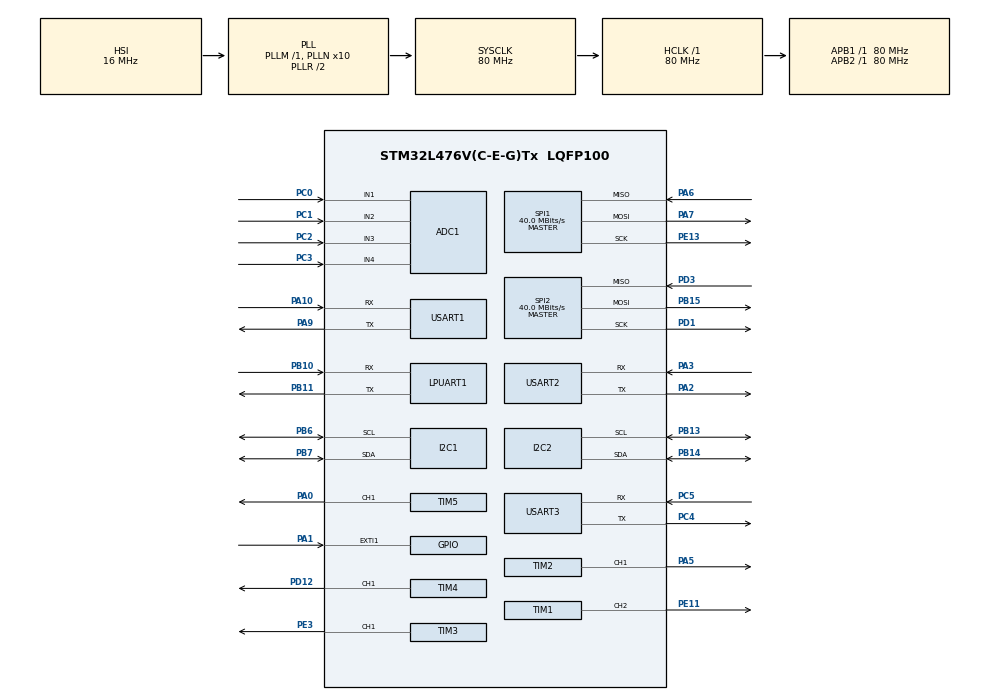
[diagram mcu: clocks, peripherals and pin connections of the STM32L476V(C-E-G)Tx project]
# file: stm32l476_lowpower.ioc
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ADC1.Channel-0\#ChannelRegularConversion=ADC_CHANNEL_1
ADC1.Channel-1\#ChannelRegularConversion=ADC_CHANNEL_2
ADC1.Channel-2\#ChannelRegularConversion=ADC_CHANNEL_3
ADC1.Channel-3\#ChannelRegularConversion=ADC_CHANNEL_4
ADC1.ContinuousConvMode=ENABLE
ADC1.DMAContinuousRequests=ENABLE
ADC1.NbrOfConversion=4
ADC1.NbrOfConversionFlag=1
ADC1.OffsetNumber-0\#ChannelRegularConversion=ADC_OFFSET_NONE
ADC1.OffsetNumber-1\#ChannelRegularConversion=ADC_OFFSET_NONE
ADC1.OffsetNumber-2\#ChannelRegularConversion=ADC_OFFSET_NONE
ADC1.OffsetNumber-3\#ChannelRegularConversion=ADC_OFFSET_NONE
ADC1.Rank-0\#ChannelRegularConversion=1
ADC1.Rank-1\#ChannelRegularConversion=2
ADC1.Rank-2\#ChannelRegularConversion=3
ADC1.Rank-3\#ChannelRegularConversion=4
ADC1.SamplingTime-0\#ChannelRegularConversion=ADC_SAMPLETIME_2CYCLES_5
ADC1.SamplingTime-1\#ChannelRegularConversion=ADC_SAMPLETIME_2CYCLES_5
ADC1.SamplingTime-2\#ChannelRegularConversion=ADC_SAMPLETIME_2CYCLES_5
ADC1.SamplingTime-3\#ChannelRegularConversion=ADC_SAMPLETIME_2CYCLES_5
ADC1.master=1
Dma.ADC1.0.Direction=DMA_PERIPH_TO_MEMORY
Dma.ADC1.0.Instance=DMA1_Channel1
Dma.ADC1.0.MemDataAlignment=DMA_MDATAALIGN_HALFWORD
Dma.ADC1.0.MemInc=DMA_MINC_ENABLE
Dma.ADC1.0.Mode=DMA_CIRCULAR
Dma.ADC1.0.PeriphDataAlignment=DMA_PDATAALIGN_HALFWORD
Dma.ADC1.0.PeriphInc=DMA_PINC_DISABLE
Dma.ADC1.0.Priority=DMA_PRIORITY_LOW
Dma.Request0=ADC1
I2C1.Timing=0x10D19CE4
I2C2.Timing=0x10D19CE4
Mcu.Family=STM32L4
Mcu.Name=STM32L476V(C-E-G)Tx
Mcu.Package=LQFP100
NVIC.DMA1_Channel1_IRQn=true\:0\:0\:false\:false\:true\:false\:true\:true
NVIC.EXTI1_IRQn=true\:0\:0\:false\:false\:true\:true\:true\:true
NVIC.PriorityGroup=NVIC_PRIORITYGROUP_4
PA0.Signal=S_TIM5_CH1
PA1.GPIO_ModeDefaultEXTI=GPIO_MODE_IT_FALLING
PA1.GPIO_PuPd=GPIO_PULLDOWN
PA1.Signal=GPXTI1
PA10.Mode=Asynchronous
PA10.Signal=USART1_RX
PA13\ (JTMS-SWDIO).Mode=Serial_Wire
PA13\ (JTMS-SWDIO).Signal=SYS_JTMS-SWDIO
PA14\ (JTCK-SWCLK).Mode=Serial_Wire
PA14\ (JTCK-SWCLK).Signal=SYS_JTCK-SWCLK
PA2.Mode=Asynchronous
PA2.Signal=USART2_TX
PA3.Mode=Asynchronous
PA3.Signal=USART2_RX
PA5.Signal=S_TIM2_CH1
PA6.Mode=Full_Duplex_Master
PA6.Signal=SPI1_MISO
PA7.Mode=Full_Duplex_Master
PA7.Signal=SPI1_MOSI
PA9.Mode=Asynchronous
PA9.Signal=USART1_TX
PB10.Mode=Asynchronous
PB10.Signal=LPUART1_RX
PB11.Mode=Asynchronous
PB11.Signal=LPUART1_TX
PB13.Mode=I2C
PB13.Signal=I2C2_SCL
PB14.Mode=I2C
PB14.Signal=I2C2_SDA
PB15.Mode=Full_Duplex_Master
PB15.Signal=SPI2_MOSI
PB6.Mode=I2C
PB6.Signal=I2C1_SCL
PB7.Mode=I2C
PB7.Signal=I2C1_SDA
PC0.Signal=ADCx_IN1
PC1.Signal=ADCx_IN2
PC14-OSC32_IN\ (PC14).Mode=LSE-External-Oscillator
PC14-OSC32_IN\ (PC14).Signal=RCC_OSC32_IN
PC15-OSC32_OUT\ (PC15).Mode=LSE-External-Oscillator
PC15-OSC32_OUT\ (PC15).Signal=RCC_OSC32_OUT
PC2.Signal=ADCx_IN3
PC3.Signal=ADCx_IN4
PC4.Mode=Asynchronous
PC4.Signal=USART3_TX
PC5.Mode=Asynchronous
PC5.Signal=USART3_RX
PD1.Mode=Full_Duplex_Master
PD1.Signal=SPI2_SCK
PD12.Signal=S_TIM4_CH1
PD3.Mode=Full_Duplex_Master
PD3.Signal=SPI2_MISO
PE11.Signal=S_TIM1_CH2
PE13.Mode=Full_Duplex_Master
PE13.Signal=SPI1_SCK
PE3.Signal=S_TIM3_CH1
ProjectManager.HeapSize=0x200
ProjectManager.StackSize=0x400
ProjectManager.TargetToolchain=STM32CubeIDE
RCC.ADCCLockSelection=RCC_ADCCLKSOURCE_SYSCLK
RCC.ADCFreq_Value=80000000
RCC.AHBFreq_Value=80000000
RCC.APB1Freq_Value=80000000
RCC.APB1TimFreq_Value=80000000
RCC.APB2Freq_Value=80000000
RCC.APB2TimFreq_Value=80000000
RCC.CortexFreq_Value=80000000
RCC.HCLKFreq_Value=80000000
RCC.HSE_VALUE=8000000
RCC.HSI_VALUE=16000000
RCC.MSI_VALUE=4000000
RCC.PLLN=10
RCC.PLLSourceVirtual=RCC_PLLSOURCE_HSI
RCC.RTCClockSelection=RCC_RTCCLKSOURCE_LSE
RCC.SYSCLKFreq_VALUE=80000000
RCC.SYSCLKSource=RCC_SYSCLKSOURCE_PLLCLK
RCC.USBFreq_Value=64000000
RCC.VCOOutputFreq_Value=160000000
RTC.Alarm-Alarm\ A=RTC_ALARM_A
RTC.Seconds_A-Alarm\ A=10
SH.ADCx_IN1.0=ADC1_IN1,IN1-Single-Ended
SH.ADCx_IN2.0=ADC1_IN2,IN2-Single-Ended
SH.ADCx_IN3.0=ADC1_IN3,IN3-Single-Ended
SH.ADCx_IN4.0=ADC1_IN4,IN4-Single-Ended
SH.S_TIM1_CH2.0=TIM1_CH2,PWM Generation2 CH2
SH.S_TIM2_CH1.0=TIM2_CH1,PWM Generation1 CH1
SH.S_TIM3_CH1.0=TIM3_CH1,Output Compare1 CH1
SH.S_TIM4_CH1.0=TIM4_CH1,PWM Generation1 CH1
SH.S_TIM5_CH1.0=TIM5_CH1,PWM Generation1 CH1
SPI1.BaudRatePrescaler=SPI_BAUDRATEPRESCALER_2
SPI1.CalculateBaudRate=40.0 MBits/s
SPI1.DataSize=SPI_DATASIZE_8BIT
SPI1.Direction=SPI_DIRECTION_2LINES
SPI1.Mode=SPI_MODE_MASTER
SPI1.VirtualType=VM_MASTER
SPI2.BaudRatePrescaler=SPI_BAUDRATEPRESCALER_2
SPI2.CalculateBaudRate=40.0 MBits/s
SPI2.DataSize=SPI_DATASIZE_8BIT
SPI2.Direction=SPI_DIRECTION_2LINES
SPI2.Mode=SPI_MODE_MASTER
SPI2.VirtualType=VM_MASTER
TIM1.Channel-PWM\ Generation2\ CH2=TIM_CHANNEL_2
TIM1.Period=1000
TIM1.Pulse-PWM\ Generation2\ CH2=500
TIM2.Channel-PWM\ Generation1\ CH1=TIM_CHANNEL_1
TIM2.Period=1000
TIM2.Pulse-PWM\ Generation1\ CH1=500
TIM3.Channel-Output\ Compare1\ CH1=TIM_CHANNEL_1
TIM3.Period=2000
TIM3.Pulse-Output\ Compare1\ CH1=600
TIM4.Channel-PWM\ Generation1\ CH1=TIM_CHANNEL_1
TIM4.Period=6000
TIM4.Pulse-PWM\ Generation1\ CH1=800
TIM5.Channel-PWM\ Generation1\ CH1=TIM_CHANNEL_1
TIM5.Period=3000
TIM5.Pulse-PWM\ Generation1\ CH1=1000
USART1.VirtualMode-Asynchronous=VM_ASYNC
USART2.VirtualMode-Asynchronous=VM_ASYNC
USART3.VirtualMode-Asynchronous=VM_ASYNC
VP_LPTIM1_VS_LPTIM_counterModeInternalClock.Mode=Counts__internal_clock_event_00
VP_RTC_VS_RTC_Activate.Mode=RTC_Enabled
VP_RTC_VS_RTC_Alarm_A_Intern.Mode=Alarm A
VP_RTC_VS_RTC_Calendar.Mode=RTC_Calendar
VP_TIM1_VS_ClockSourceINT.Mode=Internal
VP_TIM2_VS_ClockSourceINT.Mode=Internal
VP_TIM3_VS_ClockSourceINT.Mode=Internal
VP_TIM4_VS_ClockSourceINT.Mode=Internal
VP_TIM5_VS_ClockSourceINT.Mode=Internal
board=custom

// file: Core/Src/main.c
/* USER CODE BEGIN Header */
/**
  ******************************************************************************
  * @file           : main.c
  * @brief          : Main program body
  ******************************************************************************
  * @attention
  *
  * Copyright (c) 2024 STMicroelectronics.
  * All rights reserved.
  *
  * This software is licensed under terms that can be found in the LICENSE file
  * in the root directory of this software component.
  * If no LICENSE file comes with this software, it is provided AS-IS.
  *
  ******************************************************************************
  */
/* USER CODE END Header */
#include "main.h"

ADC_HandleTypeDef hadc1;
DMA_HandleTypeDef hdma_adc1;

I2C_HandleTypeDef hi2c1;
I2C_HandleTypeDef hi2c2;

LPTIM_HandleTypeDef hlptim1;

UART_HandleTypeDef hlpuart1;
UART_HandleTypeDef huart1;
UART_HandleTypeDef huart2;
UART_HandleTypeDef huart3;

RTC_HandleTypeDef hrtc;

SPI_HandleTypeDef hspi1;
SPI_HandleTypeDef hspi2;

TIM_HandleTypeDef htim1;
TIM_HandleTypeDef htim2;
TIM_HandleTypeDef htim3;
TIM_HandleTypeDef htim4;
TIM_HandleTypeDef htim5;

void SystemClock_Config(void);
static void MX_GPIO_Init(void);
static void MX_DMA_Init(void);
static void MX_ADC1_Init(void);
static void MX_I2C1_Init(void);
static void MX_I2C2_Init(void);
static void MX_LPTIM1_Init(void);
static void MX_RTC_Init(void);
static void MX_SPI1_Init(void);
static void MX_SPI2_Init(void);
static void MX_TIM1_Init(void);
static void MX_TIM2_Init(void);
static void MX_TIM3_Init(void);
static void MX_TIM4_Init(void);
static void MX_TIM5_Init(void);
static void MX_LPUART1_UART_Init(void);
static void MX_USART1_UART_Init(void);
static void MX_USART2_UART_Init(void);
static void MX_USART3_UART_Init(void);

/* USER CODE BEGIN 0 */
#include <stdio.h>
#include <string.h>
int _write(int file, char *ptr, int len)
{
  HAL_UART_Transmit(&hlpuart1, (uint8_t *)ptr, len, HAL_MAX_DELAY);
  return len;
}

uint16_t adc_data[4];
/* USER CODE END 0 */

int main(void)
{

  /* MCU Configuration--------------------------------------------------------*/

  /* Reset of all peripherals, Initializes the Flash interface and the Systick. */
  HAL_Init();

  /* Configure the system clock */
  SystemClock_Config();

  /* Initialize all configured peripherals */
  MX_GPIO_Init();
  MX_DMA_Init();
  MX_ADC1_Init();
  MX_I2C1_Init();
  MX_I2C2_Init();
  MX_LPTIM1_Init();
  MX_RTC_Init();
  MX_SPI1_Init();
  MX_SPI2_Init();
  MX_TIM1_Init();
  MX_TIM2_Init();
  MX_TIM3_Init();
  MX_TIM4_Init();
  MX_TIM5_Init();
  MX_LPUART1_UART_Init();
  MX_USART1_UART_Init();
  MX_USART2_UART_Init();
  MX_USART3_UART_Init();
  /* USER CODE BEGIN 2 */

  /*timer*/
  HAL_LPTIM_Counter_Start(&hlptim1, 0x1FFF); //under 1uA
  HAL_TIM_PWM_Start(&htim1, TIM_CHANNEL_2);
  HAL_TIM_PWM_Start(&htim2, TIM_CHANNEL_1);
  HAL_TIM_PWM_Start(&htim3, TIM_CHANNEL_1);
  HAL_TIM_PWM_Start(&htim4, TIM_CHANNEL_1);
  HAL_TIM_PWM_Start(&htim5, TIM_CHANNEL_1);

  /*spi*/
  if(HAL_SPI_Transmit(&hspi1, (uint8_t *)adc_data, 4, 0x01) != HAL_OK)  //+140uA
  {
  }
  if(HAL_SPI_Transmit(&hspi2, (uint8_t *)adc_data, 4, 0x01) != HAL_OK)  //+140uA
  {
  }

  /*usart*/
  if(HAL_UART_Receive_IT(&huart1, (uint8_t *)adc_data, 4) != HAL_OK)  //+134uA
  {
    Error_Handler();
  }
  if(HAL_UART_Receive_IT(&huart2, (uint8_t *)adc_data, 4) != HAL_OK) //+165uA
  {
    Error_Handler();
  }
  if(HAL_UART_Receive_IT(&huart3, (uint8_t *)adc_data, 4) != HAL_OK) //+165uA
  {
    Error_Handler();
  }

  /*adc*/
  if(HAL_ADCEx_Calibration_Start(&hadc1, ADC_SINGLE_ENDED) != HAL_OK)
  {
    Error_Handler();
  }
  if(HAL_ADC_Start_DMA(&hadc1, (uint32_t *)adc_data, 4) != HAL_OK)  //+15uA
  {
    Error_Handler();
  }

  /* USER CODE END 2 */

  /* Infinite loop */
  /* USER CODE BEGIN WHILE */
  printf("Hello \r\n");
  while (1)
  {
    HAL_Delay(1000);

    HAL_I2C_DeInit(&hi2c1);
    HAL_I2C_DeInit(&hi2c2);

    HAL_TIM_PWM_DeInit(&htim1);
    HAL_TIM_PWM_DeInit(&htim2);
    HAL_TIM_PWM_DeInit(&htim3);
    HAL_TIM_PWM_DeInit(&htim4);
    HAL_TIM_PWM_DeInit(&htim5);

    HAL_TIM_Base_DeInit(&htim1);
    HAL_TIM_Base_DeInit(&htim2);
    HAL_TIM_Base_DeInit(&htim3);
    HAL_TIM_Base_DeInit(&htim4);
    HAL_TIM_Base_DeInit(&htim5);

    HAL_SPI_DeInit(&hspi1);
    HAL_SPI_DeInit(&hspi2);

    HAL_UART_DeInit(&huart1);
    HAL_UART_DeInit(&huart2);
    HAL_UART_DeInit(&huart3);

    HAL_ADC_Stop_DMA(&hadc1); //-0.1uA
    HAL_ADC_DeInit(&hadc1);   //-15uA

    HAL_SuspendTick();
    HAL_PWREx_EnterSTOP2Mode(PWR_STOPENTRY_WFI);  //-13uA, can't use uart2, total : 2.77uA
    HAL_ResumeTick();

    SystemClock_Config();
    /* USER CODE END WHILE */

  }
}

void SystemClock_Config(void)
{
  RCC_OscInitTypeDef RCC_OscInitStruct = {0};
  RCC_ClkInitTypeDef RCC_ClkInitStruct = {0};

  /** Configure the main internal regulator output voltage
  */
  if (HAL_PWREx_ControlVoltageScaling(PWR_REGULATOR_VOLTAGE_SCALE1) != HAL_OK)
  {
    Error_Handler();
  }

  /** Configure LSE Drive Capability
  */
  HAL_PWR_EnableBkUpAccess();
  __HAL_RCC_LSEDRIVE_CONFIG(RCC_LSEDRIVE_LOW);

  /** Initializes the RCC Oscillators according to the specified parameters
  * in the RCC_OscInitTypeDef structure.
  */
  RCC_OscInitStruct.OscillatorType = RCC_OSCILLATORTYPE_HSI|RCC_OSCILLATORTYPE_LSE;
  RCC_OscInitStruct.LSEState = RCC_LSE_ON;
  RCC_OscInitStruct.HSIState = RCC_HSI_ON;
  RCC_OscInitStruct.HSICalibrationValue = RCC_HSICALIBRATION_DEFAULT;
  RCC_OscInitStruct.PLL.PLLState = RCC_PLL_ON;
  RCC_OscInitStruct.PLL.PLLSource = RCC_PLLSOURCE_HSI;
  RCC_OscInitStruct.PLL.PLLM = 1;
  RCC_OscInitStruct.PLL.PLLN = 10;
  RCC_OscInitStruct.PLL.PLLP = RCC_PLLP_DIV7;
  RCC_OscInitStruct.PLL.PLLQ = RCC_PLLQ_DIV2;
  RCC_OscInitStruct.PLL.PLLR = RCC_PLLR_DIV2;
  if (HAL_RCC_OscConfig(&RCC_OscInitStruct) != HAL_OK)
  {
    Error_Handler();
  }

  /** Initializes the CPU, AHB and APB buses clocks
  */
  RCC_ClkInitStruct.ClockType = RCC_CLOCKTYPE_HCLK|RCC_CLOCKTYPE_SYSCLK
                              |RCC_CLOCKTYPE_PCLK1|RCC_CLOCKTYPE_PCLK2;
  RCC_ClkInitStruct.SYSCLKSource = RCC_SYSCLKSOURCE_PLLCLK;
  RCC_ClkInitStruct.AHBCLKDivider = RCC_SYSCLK_DIV1;
  RCC_ClkInitStruct.APB1CLKDivider = RCC_HCLK_DIV1;
  RCC_ClkInitStruct.APB2CLKDivider = RCC_HCLK_DIV1;

  if (HAL_RCC_ClockConfig(&RCC_ClkInitStruct, FLASH_LATENCY_4) != HAL_OK)
  {
    Error_Handler();
  }
}

static void MX_ADC1_Init(void)
{

  ADC_MultiModeTypeDef multimode = {0};
  ADC_ChannelConfTypeDef sConfig = {0};

  /** Common config
  */
  hadc1.Instance = ADC1;
  hadc1.Init.ClockPrescaler = ADC_CLOCK_ASYNC_DIV1;
  hadc1.Init.Resolution = ADC_RESOLUTION_12B;
  hadc1.Init.DataAlign = ADC_DATAALIGN_RIGHT;
  hadc1.Init.ScanConvMode = ADC_SCAN_ENABLE;
  hadc1.Init.EOCSelection = ADC_EOC_SINGLE_CONV;
  hadc1.Init.LowPowerAutoWait = DISABLE;
  hadc1.Init.ContinuousConvMode = ENABLE;
  hadc1.Init.NbrOfConversion = 4;
  hadc1.Init.DiscontinuousConvMode = DISABLE;
  hadc1.Init.ExternalTrigConv = ADC_SOFTWARE_START;
  hadc1.Init.ExternalTrigConvEdge = ADC_EXTERNALTRIGCONVEDGE_NONE;
  hadc1.Init.DMAContinuousRequests = ENABLE;
  hadc1.Init.Overrun = ADC_OVR_DATA_PRESERVED;
  hadc1.Init.OversamplingMode = DISABLE;
  if (HAL_ADC_Init(&hadc1) != HAL_OK)
  {
    Error_Handler();
  }

  /** Configure the ADC multi-mode
  */
  multimode.Mode = ADC_MODE_INDEPENDENT;
  if (HAL_ADCEx_MultiModeConfigChannel(&hadc1, &multimode) != HAL_OK)
  {
    Error_Handler();
  }

  /** Configure Regular Channel
  */
  sConfig.Channel = ADC_CHANNEL_1;
  sConfig.Rank = ADC_REGULAR_RANK_1;
  sConfig.SamplingTime = ADC_SAMPLETIME_2CYCLES_5;
  sConfig.SingleDiff = ADC_SINGLE_ENDED;
  sConfig.OffsetNumber = ADC_OFFSET_NONE;
  sConfig.Offset = 0;
  if (HAL_ADC_ConfigChannel(&hadc1, &sConfig) != HAL_OK)
  {
    Error_Handler();
  }

  /** Configure Regular Channel
  */
  sConfig.Channel = ADC_CHANNEL_2;
  sConfig.Rank = ADC_REGULAR_RANK_2;
  if (HAL_ADC_ConfigChannel(&hadc1, &sConfig) != HAL_OK)
  {
    Error_Handler();
  }

  /** Configure Regular Channel
  */
  sConfig.Channel = ADC_CHANNEL_3;
  sConfig.Rank = ADC_REGULAR_RANK_3;
  if (HAL_ADC_ConfigChannel(&hadc1, &sConfig) != HAL_OK)
  {
    Error_Handler();
  }

  /** Configure Regular Channel
  */
  sConfig.Channel = ADC_CHANNEL_4;
  sConfig.Rank = ADC_REGULAR_RANK_4;
  if (HAL_ADC_ConfigChannel(&hadc1, &sConfig) != HAL_OK)
  {
    Error_Handler();
  }
  /* USER CODE BEGIN ADC1_Init 2 */
  HAL_NVIC_DisableIRQ(DMA1_Channel1_IRQn);
  /* USER CODE END ADC1_Init 2 */

}

static void MX_I2C1_Init(void)
{

  hi2c1.Instance = I2C1;
  hi2c1.Init.Timing = 0x10D19CE4;
  hi2c1.Init.OwnAddress1 = 0;
  hi2c1.Init.AddressingMode = I2C_ADDRESSINGMODE_7BIT;
  hi2c1.Init.DualAddressMode = I2C_DUALADDRESS_DISABLE;
  hi2c1.Init.OwnAddress2 = 0;
  hi2c1.Init.OwnAddress2Masks = I2C_OA2_NOMASK;
  hi2c1.Init.GeneralCallMode = I2C_GENERALCALL_DISABLE;
  hi2c1.Init.NoStretchMode = I2C_NOSTRETCH_DISABLE;
  if (HAL_I2C_Init(&hi2c1) != HAL_OK)
  {
    Error_Handler();
  }

  /** Configure Analogue filter
  */
  if (HAL_I2CEx_ConfigAnalogFilter(&hi2c1, I2C_ANALOGFILTER_ENABLE) != HAL_OK)
  {
    Error_Handler();
  }

  /** Configure Digital filter
  */
  if (HAL_I2CEx_ConfigDigitalFilter(&hi2c1, 0) != HAL_OK)
  {
    Error_Handler();
  }

}

static void MX_I2C2_Init(void)
{

  hi2c2.Instance = I2C2;
  hi2c2.Init.Timing = 0x10D19CE4;
  hi2c2.Init.OwnAddress1 = 0;
  hi2c2.Init.AddressingMode = I2C_ADDRESSINGMODE_7BIT;
  hi2c2.Init.DualAddressMode = I2C_DUALADDRESS_DISABLE;
  hi2c2.Init.OwnAddress2 = 0;
  hi2c2.Init.OwnAddress2Masks = I2C_OA2_NOMASK;
  hi2c2.Init.GeneralCallMode = I2C_GENERALCALL_DISABLE;
  hi2c2.Init.NoStretchMode = I2C_NOSTRETCH_DISABLE;
  if (HAL_I2C_Init(&hi2c2) != HAL_OK)
  {
    Error_Handler();
  }

  /** Configure Analogue filter
  */
  if (HAL_I2CEx_ConfigAnalogFilter(&hi2c2, I2C_ANALOGFILTER_ENABLE) != HAL_OK)
  {
    Error_Handler();
  }

  /** Configure Digital filter
  */
  if (HAL_I2CEx_ConfigDigitalFilter(&hi2c2, 0) != HAL_OK)
  {
    Error_Handler();
  }

}

static void MX_LPTIM1_Init(void)
{

  hlptim1.Instance = LPTIM1;
  hlptim1.Init.Clock.Source = LPTIM_CLOCKSOURCE_APBCLOCK_LPOSC;
  hlptim1.Init.Clock.Prescaler = LPTIM_PRESCALER_DIV1;
  hlptim1.Init.Trigger.Source = LPTIM_TRIGSOURCE_SOFTWARE;
  hlptim1.Init.OutputPolarity = LPTIM_OUTPUTPOLARITY_HIGH;
  hlptim1.Init.UpdateMode = LPTIM_UPDATE_IMMEDIATE;
  hlptim1.Init.CounterSource = LPTIM_COUNTERSOURCE_INTERNAL;
  hlptim1.Init.Input1Source = LPTIM_INPUT1SOURCE_GPIO;
  hlptim1.Init.Input2Source = LPTIM_INPUT2SOURCE_GPIO;
  if (HAL_LPTIM_Init(&hlptim1) != HAL_OK)
  {
    Error_Handler();
  }

}

static void MX_LPUART1_UART_Init(void)
{

  hlpuart1.Instance = LPUART1;
  hlpuart1.Init.BaudRate = 209700;
  hlpuart1.Init.WordLength = UART_WORDLENGTH_7B;
  hlpuart1.Init.StopBits = UART_STOPBITS_1;
  hlpuart1.Init.Parity = UART_PARITY_NONE;
  hlpuart1.Init.Mode = UART_MODE_TX_RX;
  hlpuart1.Init.HwFlowCtl = UART_HWCONTROL_NONE;
  hlpuart1.Init.OneBitSampling = UART_ONE_BIT_SAMPLE_DISABLE;
  hlpuart1.AdvancedInit.AdvFeatureInit = UART_ADVFEATURE_NO_INIT;
  if (HAL_UART_Init(&hlpuart1) != HAL_OK)
  {
    Error_Handler();
  }

}

static void MX_USART1_UART_Init(void)
{

  huart1.Instance = USART1;
  huart1.Init.BaudRate = 115200;
  huart1.Init.WordLength = UART_WORDLENGTH_8B;
  huart1.Init.StopBits = UART_STOPBITS_1;
  huart1.Init.Parity = UART_PARITY_NONE;
  huart1.Init.Mode = UART_MODE_TX_RX;
  huart1.Init.HwFlowCtl = UART_HWCONTROL_NONE;
  huart1.Init.OverSampling = UART_OVERSAMPLING_16;
  huart1.Init.OneBitSampling = UART_ONE_BIT_SAMPLE_DISABLE;
  huart1.AdvancedInit.AdvFeatureInit = UART_ADVFEATURE_NO_INIT;
  if (HAL_UART_Init(&huart1) != HAL_OK)
  {
    Error_Handler();
  }

}

static void MX_USART2_UART_Init(void)
{

  huart2.Instance = USART2;
  huart2.Init.BaudRate = 115200;
  huart2.Init.WordLength = UART_WORDLENGTH_8B;
  huart2.Init.StopBits = UART_STOPBITS_1;
  huart2.Init.Parity = UART_PARITY_NONE;
  huart2.Init.Mode = UART_MODE_TX_RX;
  huart2.Init.HwFlowCtl = UART_HWCONTROL_NONE;
  huart2.Init.OverSampling = UART_OVERSAMPLING_16;
  huart2.Init.OneBitSampling = UART_ONE_BIT_SAMPLE_DISABLE;
  huart2.AdvancedInit.AdvFeatureInit = UART_ADVFEATURE_NO_INIT;
  if (HAL_UART_Init(&huart2) != HAL_OK)
  {
    Error_Handler();
  }

}

static void MX_USART3_UART_Init(void)
{

  huart3.Instance = USART3;
  huart3.Init.BaudRate = 115200;
  huart3.Init.WordLength = UART_WORDLENGTH_8B;
  huart3.Init.StopBits = UART_STOPBITS_1;
  huart3.Init.Parity = UART_PARITY_NONE;
  huart3.Init.Mode = UART_MODE_TX_RX;
  huart3.Init.HwFlowCtl = UART_HWCONTROL_NONE;
  huart3.Init.OverSampling = UART_OVERSAMPLING_16;
  huart3.Init.OneBitSampling = UART_ONE_BIT_SAMPLE_DISABLE;
  huart3.AdvancedInit.AdvFeatureInit = UART_ADVFEATURE_NO_INIT;
  if (HAL_UART_Init(&huart3) != HAL_OK)
  {
    Error_Handler();
  }

}

static void MX_RTC_Init(void)
{

  RTC_TimeTypeDef sTime = {0};
  RTC_DateTypeDef sDate = {0};
  RTC_AlarmTypeDef sAlarm = {0};

  /** Initialize RTC Only
  */
  hrtc.Instance = RTC;
  hrtc.Init.HourFormat = RTC_HOURFORMAT_24;
  hrtc.Init.AsynchPrediv = 127;
  hrtc.Init.SynchPrediv = 255;
  hrtc.Init.OutPut = RTC_OUTPUT_DISABLE;
  hrtc.Init.OutPutRemap = RTC_OUTPUT_REMAP_NONE;
  hrtc.Init.OutPutPolarity = RTC_OUTPUT_POLARITY_HIGH;
  hrtc.Init.OutPutType = RTC_OUTPUT_TYPE_OPENDRAIN;
  if (HAL_RTC_Init(&hrtc) != HAL_OK)
  {
    Error_Handler();
  }

  /** Initialize RTC and set the Time and Date
  */
  sTime.Hours = 0x0;
  sTime.Minutes = 0x0;
  sTime.Seconds = 0x0;
  sTime.DayLightSaving = RTC_DAYLIGHTSAVING_NONE;
  sTime.StoreOperation = RTC_STOREOPERATION_RESET;
  if (HAL_RTC_SetTime(&hrtc, &sTime, RTC_FORMAT_BCD) != HAL_OK)
  {
    Error_Handler();
  }
  sDate.WeekDay = RTC_WEEKDAY_MONDAY;
  sDate.Month = RTC_MONTH_JANUARY;
  sDate.Date = 0x1;
  sDate.Year = 0x0;

  if (HAL_RTC_SetDate(&hrtc, &sDate, RTC_FORMAT_BCD) != HAL_OK)
  {
    Error_Handler();
  }

  /** Enable the Alarm A
  */
  sAlarm.AlarmTime.Hours = 0x0;
  sAlarm.AlarmTime.Minutes = 0x0;
  sAlarm.AlarmTime.Seconds = 0x10;
  sAlarm.AlarmTime.SubSeconds = 0x0;
  sAlarm.AlarmTime.DayLightSaving = RTC_DAYLIGHTSAVING_NONE;
  sAlarm.AlarmTime.StoreOperation = RTC_STOREOPERATION_RESET;
  sAlarm.AlarmMask = RTC_ALARMMASK_NONE;
  sAlarm.AlarmSubSecondMask = RTC_ALARMSUBSECONDMASK_ALL;
  sAlarm.AlarmDateWeekDaySel = RTC_ALARMDATEWEEKDAYSEL_DATE;
  sAlarm.AlarmDateWeekDay = 0x1;
  sAlarm.Alarm = RTC_ALARM_A;
  if (HAL_RTC_SetAlarm(&hrtc, &sAlarm, RTC_FORMAT_BCD) != HAL_OK)
  {
    Error_Handler();
  }

}

static void MX_SPI1_Init(void)
{

  /* SPI1 parameter configuration*/
  hspi1.Instance = SPI1;
  hspi1.Init.Mode = SPI_MODE_MASTER;
  hspi1.Init.Direction = SPI_DIRECTION_2LINES;
  hspi1.Init.DataSize = SPI_DATASIZE_8BIT;
  hspi1.Init.CLKPolarity = SPI_POLARITY_LOW;
  hspi1.Init.CLKPhase = SPI_PHASE_1EDGE;
  hspi1.Init.NSS = SPI_NSS_SOFT;
  hspi1.Init.BaudRatePrescaler = SPI_BAUDRATEPRESCALER_2;
  hspi1.Init.FirstBit = SPI_FIRSTBIT_MSB;
  hspi1.Init.TIMode = SPI_TIMODE_DISABLE;
  hspi1.Init.CRCCalculation = SPI_CRCCALCULATION_DISABLE;
  hspi1.Init.CRCPolynomial = 7;
  hspi1.Init.CRCLength = SPI_CRC_LENGTH_DATASIZE;
  hspi1.Init.NSSPMode = SPI_NSS_PULSE_ENABLE;
  if (HAL_SPI_Init(&hspi1) != HAL_OK)
  {
    Error_Handler();
  }

}

static void MX_SPI2_Init(void)
{

  /* SPI2 parameter configuration*/
  hspi2.Instance = SPI2;
  hspi2.Init.Mode = SPI_MODE_MASTER;
  hspi2.Init.Direction = SPI_DIRECTION_2LINES;
  hspi2.Init.DataSize = SPI_DATASIZE_8BIT;
  hspi2.Init.CLKPolarity = SPI_POLARITY_LOW;
  hspi2.Init.CLKPhase = SPI_PHASE_1EDGE;
  hspi2.Init.NSS = SPI_NSS_SOFT;
  hspi2.Init.BaudRatePrescaler = SPI_BAUDRATEPRESCALER_2;
  hspi2.Init.FirstBit = SPI_FIRSTBIT_MSB;
  hspi2.Init.TIMode = SPI_TIMODE_DISABLE;
  hspi2.Init.CRCCalculation = SPI_CRCCALCULATION_DISABLE;
  hspi2.Init.CRCPolynomial = 7;
  hspi2.Init.CRCLength = SPI_CRC_LENGTH_DATASIZE;
  hspi2.Init.NSSPMode = SPI_NSS_PULSE_ENABLE;
  if (HAL_SPI_Init(&hspi2) != HAL_OK)
  {
    Error_Handler();
  }

}

static void MX_TIM1_Init(void)
{

  TIM_ClockConfigTypeDef sClockSourceConfig = {0};
  TIM_MasterConfigTypeDef sMasterConfig = {0};
  TIM_OC_InitTypeDef sConfigOC = {0};
  TIM_BreakDeadTimeConfigTypeDef sBreakDeadTimeConfig = {0};

  htim1.Instance = TIM1;
  htim1.Init.Prescaler = 0;
  htim1.Init.CounterMode = TIM_COUNTERMODE_UP;
  htim1.Init.Period = 1000;
  htim1.Init.ClockDivision = TIM_CLOCKDIVISION_DIV1;
  htim1.Init.RepetitionCounter = 0;
  htim1.Init.AutoReloadPreload = TIM_AUTORELOAD_PRELOAD_DISABLE;
  if (HAL_TIM_Base_Init(&htim1) != HAL_OK)
  {
    Error_Handler();
  }
  sClockSourceConfig.ClockSource = TIM_CLOCKSOURCE_INTERNAL;
  if (HAL_TIM_ConfigClockSource(&htim1, &sClockSourceConfig) != HAL_OK)
  {
    Error_Handler();
  }
  if (HAL_TIM_PWM_Init(&htim1) != HAL_OK)
  {
    Error_Handler();
  }
  sMasterConfig.MasterOutputTrigger = TIM_TRGO_RESET;
  sMasterConfig.MasterOutputTrigger2 = TIM_TRGO2_RESET;
  sMasterConfig.MasterSlaveMode = TIM_MASTERSLAVEMODE_DISABLE;
  if (HAL_TIMEx_MasterConfigSynchronization(&htim1, &sMasterConfig) != HAL_OK)
  {
    Error_Handler();
  }
  sConfigOC.OCMode = TIM_OCMODE_PWM1;
  sConfigOC.Pulse = 500;
  sConfigOC.OCPolarity = TIM_OCPOLARITY_HIGH;
  sConfigOC.OCNPolarity = TIM_OCNPOLARITY_HIGH;
  sConfigOC.OCFastMode = TIM_OCFAST_DISABLE;
  sConfigOC.OCIdleState = TIM_OCIDLESTATE_RESET;
  sConfigOC.OCNIdleState = TIM_OCNIDLESTATE_RESET;
  if (HAL_TIM_PWM_ConfigChannel(&htim1, &sConfigOC, TIM_CHANNEL_2) != HAL_OK)
  {
    Error_Handler();
  }
  sBreakDeadTimeConfig.OffStateRunMode = TIM_OSSR_DISABLE;
  sBreakDeadTimeConfig.OffStateIDLEMode = TIM_OSSI_DISABLE;
  sBreakDeadTimeConfig.LockLevel = TIM_LOCKLEVEL_OFF;
  sBreakDeadTimeConfig.DeadTime = 0;
  sBreakDeadTimeConfig.BreakState = TIM_BREAK_DISABLE;
  sBreakDeadTimeConfig.BreakPolarity = TIM_BREAKPOLARITY_HIGH;
  sBreakDeadTimeConfig.BreakFilter = 0;
  sBreakDeadTimeConfig.Break2State = TIM_BREAK2_DISABLE;
  sBreakDeadTimeConfig.Break2Polarity = TIM_BREAK2POLARITY_HIGH;
  sBreakDeadTimeConfig.Break2Filter = 0;
  sBreakDeadTimeConfig.AutomaticOutput = TIM_AUTOMATICOUTPUT_DISABLE;
  if (HAL_TIMEx_ConfigBreakDeadTime(&htim1, &sBreakDeadTimeConfig) != HAL_OK)
  {
    Error_Handler();
  }
  HAL_TIM_MspPostInit(&htim1);

}

static void MX_TIM2_Init(void)
{

  TIM_ClockConfigTypeDef sClockSourceConfig = {0};
  TIM_MasterConfigTypeDef sMasterConfig = {0};
  TIM_OC_InitTypeDef sConfigOC = {0};

  htim2.Instance = TIM2;
  htim2.Init.Prescaler = 0;
  htim2.Init.CounterMode = TIM_COUNTERMODE_UP;
  htim2.Init.Period = 1000;
  htim2.Init.ClockDivision = TIM_CLOCKDIVISION_DIV1;
  htim2.Init.AutoReloadPreload = TIM_AUTORELOAD_PRELOAD_DISABLE;
  if (HAL_TIM_Base_Init(&htim2) != HAL_OK)
  {
    Error_Handler();
  }
  sClockSourceConfig.ClockSource = TIM_CLOCKSOURCE_INTERNAL;
  if (HAL_TIM_ConfigClockSource(&htim2, &sClockSourceConfig) != HAL_OK)
  {
    Error_Handler();
  }
  if (HAL_TIM_PWM_Init(&htim2) != HAL_OK)
  {
    Error_Handler();
  }
  sMasterConfig.MasterOutputTrigger = TIM_TRGO_RESET;
  sMasterConfig.MasterSlaveMode = TIM_MASTERSLAVEMODE_DISABLE;
  if (HAL_TIMEx_MasterConfigSynchronization(&htim2, &sMasterConfig) != HAL_OK)
  {
    Error_Handler();
  }
  sConfigOC.OCMode = TIM_OCMODE_PWM1;
  sConfigOC.Pulse = 500;
  sConfigOC.OCPolarity = TIM_OCPOLARITY_HIGH;
  sConfigOC.OCFastMode = TIM_OCFAST_DISABLE;
  if (HAL_TIM_PWM_ConfigChannel(&htim2, &sConfigOC, TIM_CHANNEL_1) != HAL_OK)
  {
    Error_Handler();
  }
  HAL_TIM_MspPostInit(&htim2);

}

static void MX_TIM3_Init(void)
{

  TIM_ClockConfigTypeDef sClockSourceConfig = {0};
  TIM_MasterConfigTypeDef sMasterConfig = {0};
  TIM_OC_InitTypeDef sConfigOC = {0};

  htim3.Instance = TIM3;
  htim3.Init.Prescaler = 0;
  htim3.Init.CounterMode = TIM_COUNTERMODE_UP;
  htim3.Init.Period = 2000;
  htim3.Init.ClockDivision = TIM_CLOCKDIVISION_DIV1;
  htim3.Init.AutoReloadPreload = TIM_AUTORELOAD_PRELOAD_DISABLE;
  if (HAL_TIM_Base_Init(&htim3) != HAL_OK)
  {
    Error_Handler();
  }
  sClockSourceConfig.ClockSource = TIM_CLOCKSOURCE_INTERNAL;
  if (HAL_TIM_ConfigClockSource(&htim3, &sClockSourceConfig) != HAL_OK)
  {
    Error_Handler();
  }
  if (HAL_TIM_OC_Init(&htim3) != HAL_OK)
  {
    Error_Handler();
  }
  sMasterConfig.MasterOutputTrigger = TIM_TRGO_RESET;
  sMasterConfig.MasterSlaveMode = TIM_MASTERSLAVEMODE_DISABLE;
  if (HAL_TIMEx_MasterConfigSynchronization(&htim3, &sMasterConfig) != HAL_OK)
  {
    Error_Handler();
  }
  sConfigOC.OCMode = TIM_OCMODE_TIMING;
  sConfigOC.Pulse = 600;
  sConfigOC.OCPolarity = TIM_OCPOLARITY_HIGH;
  sConfigOC.OCFastMode = TIM_OCFAST_DISABLE;
  if (HAL_TIM_OC_ConfigChannel(&htim3, &sConfigOC, TIM_CHANNEL_1) != HAL_OK)
  {
    Error_Handler();
  }
  HAL_TIM_MspPostInit(&htim3);

}

static void MX_TIM4_Init(void)
{

  TIM_ClockConfigTypeDef sClockSourceConfig = {0};
  TIM_MasterConfigTypeDef sMasterConfig = {0};
  TIM_OC_InitTypeDef sConfigOC = {0};

  htim4.Instance = TIM4;
  htim4.Init.Prescaler = 0;
  htim4.Init.CounterMode = TIM_COUNTERMODE_UP;
  htim4.Init.Period = 6000;
  htim4.Init.ClockDivision = TIM_CLOCKDIVISION_DIV1;
  htim4.Init.AutoReloadPreload = TIM_AUTORELOAD_PRELOAD_DISABLE;
  if (HAL_TIM_Base_Init(&htim4) != HAL_OK)
  {
    Error_Handler();
  }
  sClockSourceConfig.ClockSource = TIM_CLOCKSOURCE_INTERNAL;
  if (HAL_TIM_ConfigClockSource(&htim4, &sClockSourceConfig) != HAL_OK)
  {
    Error_Handler();
  }
  if (HAL_TIM_PWM_Init(&htim4) != HAL_OK)
  {
    Error_Handler();
  }
  sMasterConfig.MasterOutputTrigger = TIM_TRGO_RESET;
  sMasterConfig.MasterSlaveMode = TIM_MASTERSLAVEMODE_DISABLE;
  if (HAL_TIMEx_MasterConfigSynchronization(&htim4, &sMasterConfig) != HAL_OK)
  {
    Error_Handler();
  }
  sConfigOC.OCMode = TIM_OCMODE_PWM1;
  sConfigOC.Pulse = 800;
  sConfigOC.OCPolarity = TIM_OCPOLARITY_HIGH;
  sConfigOC.OCFastMode = TIM_OCFAST_DISABLE;
  if (HAL_TIM_PWM_ConfigChannel(&htim4, &sConfigOC, TIM_CHANNEL_1) != HAL_OK)
  {
    Error_Handler();
  }
  HAL_TIM_MspPostInit(&htim4);

}

static void MX_TIM5_Init(void)
{

  TIM_ClockConfigTypeDef sClockSourceConfig = {0};
  TIM_MasterConfigTypeDef sMasterConfig = {0};
  TIM_OC_InitTypeDef sConfigOC = {0};

  htim5.Instance = TIM5;
  htim5.Init.Prescaler = 0;
  htim5.Init.CounterMode = TIM_COUNTERMODE_UP;
  htim5.Init.Period = 3000;
  htim5.Init.ClockDivision = TIM_CLOCKDIVISION_DIV1;
  htim5.Init.AutoReloadPreload = TIM_AUTORELOAD_PRELOAD_DISABLE;
  if (HAL_TIM_Base_Init(&htim5) != HAL_OK)
  {
    Error_Handler();
  }
  sClockSourceConfig.ClockSource = TIM_CLOCKSOURCE_INTERNAL;
  if (HAL_TIM_ConfigClockSource(&htim5, &sClockSourceConfig) != HAL_OK)
  {
    Error_Handler();
  }
  if (HAL_TIM_PWM_Init(&htim5) != HAL_OK)
  {
    Error_Handler();
  }
  sMasterConfig.MasterOutputTrigger = TIM_TRGO_RESET;
  sMasterConfig.MasterSlaveMode = TIM_MASTERSLAVEMODE_DISABLE;
  if (HAL_TIMEx_MasterConfigSynchronization(&htim5, &sMasterConfig) != HAL_OK)
  {
    Error_Handler();
  }
  sConfigOC.OCMode = TIM_OCMODE_PWM1;
  sConfigOC.Pulse = 1000;
  sConfigOC.OCPolarity = TIM_OCPOLARITY_HIGH;
  sConfigOC.OCFastMode = TIM_OCFAST_DISABLE;
  if (HAL_TIM_PWM_ConfigChannel(&htim5, &sConfigOC, TIM_CHANNEL_1) != HAL_OK)
  {
    Error_Handler();
  }
  HAL_TIM_MspPostInit(&htim5);

}

static void MX_DMA_Init(void)
{

  /* DMA controller clock enable */
  __HAL_RCC_DMA1_CLK_ENABLE();

  /* DMA interrupt init */
  /* DMA1_Channel1_IRQn interrupt configuration */
  HAL_NVIC_SetPriority(DMA1_Channel1_IRQn, 0, 0);
  HAL_NVIC_EnableIRQ(DMA1_Channel1_IRQn);

}

static void MX_GPIO_Init(void)
{
  GPIO_InitTypeDef GPIO_InitStruct = {0};

  /* GPIO Ports Clock Enable */
  __HAL_RCC_GPIOE_CLK_ENABLE();
  __HAL_RCC_GPIOC_CLK_ENABLE();
  __HAL_RCC_GPIOA_CLK_ENABLE();
  __HAL_RCC_GPIOB_CLK_ENABLE();
  __HAL_RCC_GPIOD_CLK_ENABLE();

  /*Configure GPIO pin : PA1 */
  GPIO_InitStruct.Pin = GPIO_PIN_1;
  GPIO_InitStruct.Mode = GPIO_MODE_IT_FALLING;
  GPIO_InitStruct.Pull = GPIO_PULLDOWN;
  HAL_GPIO_Init(GPIOA, &GPIO_InitStruct);

  /* EXTI interrupt init*/
  HAL_NVIC_SetPriority(EXTI1_IRQn, 0, 0);
  HAL_NVIC_EnableIRQ(EXTI1_IRQn);

}

void Error_Handler(void)
{
  __disable_irq();
  while (1)
  {
  }
}
